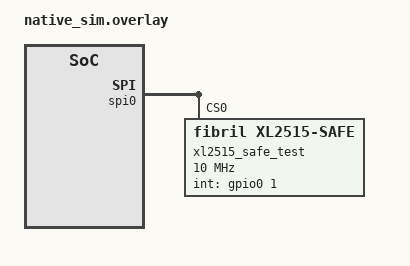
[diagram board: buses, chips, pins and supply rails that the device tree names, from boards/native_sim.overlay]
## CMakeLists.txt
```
# SPDX-License-Identifier: Apache-2.0

cmake_minimum_required(VERSION 3.20.0)
find_package(Zephyr REQUIRED HINTS $ENV{ZEPHYR_BASE})
project(xl2515_safe)

target_sources(app PRIVATE src/main.c src/emul_xl2515.c)
```

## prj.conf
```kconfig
CONFIG_ZTEST=y
CONFIG_CAN=y
CONFIG_SPI=y
CONFIG_SPI_EMUL=y
CONFIG_GPIO=y
CONFIG_GPIO_EMUL=y
CONFIG_EMUL=y
CONFIG_CAN_XL2515_SAFE_RECOVERY_DELAY_MS=10
CONFIG_CAN_XL2515_SAFE_IRQ_DRAIN_LIMIT=4
CONFIG_CAN_LOG_LEVEL_INF=y
```

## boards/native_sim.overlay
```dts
/* SPDX-License-Identifier: Apache-2.0 */

#include <zephyr/dt-bindings/gpio/gpio.h>

/ {
	aliases {
		can0 = &xl2515_safe_test;
	};
};

&gpio0 {
	ngpios = <2>;
};

&spi0 {
	status = "okay";

	xl2515_safe_test: can-controller@0 {
		compatible = "fibril,xl2515-safe";
		reg = <0>;
		spi-max-frequency = <10000000>;
		int-gpios = <&gpio0 1 GPIO_ACTIVE_HIGH>;
		osc-freq = <16000000>;
		bitrate = <125000>;
	};
};
```

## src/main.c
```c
/* SPDX-License-Identifier: Apache-2.0 */

#include <zephyr/drivers/can.h>
#include <zephyr/drivers/emul.h>
#include <zephyr/drivers/gpio/gpio_emul.h>
#include <zephyr/drivers/spi_emul.h>
#include <zephyr/kernel.h>
#include <zephyr/ztest.h>

#define CAN_NODE DT_ALIAS(can0)

static int failing_spi_io(const struct emul *target,
                          const struct spi_config *config,
                          const struct spi_buf_set *tx_bufs,
                          const struct spi_buf_set *rx_bufs) {
  ARG_UNUSED(target);
  ARG_UNUSED(config);
  ARG_UNUSED(tx_bufs);
  ARG_UNUSED(rx_bufs);
  return -EIO;
}

ZTEST(xl2515_safe, test_spi_fault_does_not_starve_and_recovers) {
  const struct device *can_dev = DEVICE_DT_GET(CAN_NODE);
  const struct gpio_dt_spec int_gpio = GPIO_DT_SPEC_GET(CAN_NODE, int_gpios);
  const struct emul *emul = EMUL_DT_GET(CAN_NODE);
  struct spi_emul_api failing_api = {.io = failing_spi_io};
  struct can_bus_err_cnt err_cnt;
  const struct can_frame frame = {.id = 0x123, .dlc = 0};
  enum can_state state = CAN_STATE_STOPPED;
  int64_t start_ms;
  int ret;

  zassert_true(device_is_ready(can_dev));
  zassert_ok(can_start(can_dev));

  emul->bus.spi->mock_api = &failing_api;
  zassert_ok(gpio_emul_input_set_dt(&int_gpio, 1));

  start_ms = k_uptime_get();
  k_sleep(K_MSEC(30));
  zassert_true(k_uptime_get() - start_ms >= 20,
               "CAN worker starved the test thread");

  zassert_ok(can_get_state(can_dev, &state, &err_cnt));
  zassert_equal(state, CAN_STATE_STOPPED, "fault was not isolated");
  zassert_equal(can_send(can_dev, &frame, K_NO_WAIT, NULL, NULL), -EIO,
                "synchronous send did not fail promptly");

  zassert_ok(gpio_emul_input_set_dt(&int_gpio, 0));
  emul->bus.spi->mock_api = NULL;

  for (int i = 0; i < 50; i++) {
    ret = can_get_state(can_dev, &state, &err_cnt);
    if (ret == 0 && state == CAN_STATE_ERROR_ACTIVE) {
      break;
    }
    k_sleep(K_MSEC(10));
  }

  zassert_equal(state, CAN_STATE_ERROR_ACTIVE, "CAN did not recover");
  zassert_ok(can_stop(can_dev));
}

ZTEST_SUITE(xl2515_safe, NULL, NULL, NULL, NULL, NULL);
```

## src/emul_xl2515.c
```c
/* SPDX-License-Identifier: Apache-2.0 */

#define DT_DRV_COMPAT fibril_xl2515_safe

#include <string.h>
#include <zephyr/drivers/emul.h>
#include <zephyr/drivers/spi_emul.h>

#define XL2515_OPCODE_WRITE 0x02
#define XL2515_OPCODE_READ 0x03
#define XL2515_OPCODE_BIT_MODIFY 0x05
#define XL2515_OPCODE_LOAD_TX_BUFFER 0x40
#define XL2515_OPCODE_RTS 0x80
#define XL2515_OPCODE_RESET 0xC0
#define XL2515_ADDR_CANSTAT 0x0E
#define XL2515_ADDR_CANCTRL 0x0F
#define XL2515_MODE_MASK 0xE0

struct xl2515_emul_data {
  uint8_t reg[128];
};

static void xl2515_emul_reset(struct xl2515_emul_data *data) {
  memset(data->reg, 0, sizeof(data->reg));
  data->reg[XL2515_ADDR_CANSTAT] = XL2515_MODE_MASK;
  data->reg[XL2515_ADDR_CANCTRL] = XL2515_MODE_MASK;
}

static int xl2515_emul_io(const struct emul *target,
                          const struct spi_config *config,
                          const struct spi_buf_set *tx_bufs,
                          const struct spi_buf_set *rx_bufs) {
  struct xl2515_emul_data *data = target->data;
  const struct spi_buf *command;
  const uint8_t *cmd;

  ARG_UNUSED(config);

  if (tx_bufs == NULL || tx_bufs->count == 0U ||
      tx_bufs->buffers[0].buf == NULL || tx_bufs->buffers[0].len == 0U) {
    return -EIO;
  }

  command = &tx_bufs->buffers[0];
  cmd = command->buf;

  switch (cmd[0]) {
  case XL2515_OPCODE_RESET:
    if (command->len != 1U) {
      return -EIO;
    }
    xl2515_emul_reset(data);
    return 0;
  case XL2515_OPCODE_BIT_MODIFY:
    if (command->len != 4U) {
      return -EIO;
    }
    data->reg[cmd[1]] = (data->reg[cmd[1]] & ~cmd[2]) | (cmd[3] & cmd[2]);
    if (cmd[1] == XL2515_ADDR_CANCTRL) {
      data->reg[XL2515_ADDR_CANSTAT] =
          (data->reg[XL2515_ADDR_CANSTAT] & ~XL2515_MODE_MASK) |
          (data->reg[XL2515_ADDR_CANCTRL] & XL2515_MODE_MASK);
    }
    return 0;
  case XL2515_OPCODE_WRITE:
    if (command->len != 2U || tx_bufs->count != 2U ||
        tx_bufs->buffers[1].buf == NULL ||
        cmd[1] + tx_bufs->buffers[1].len > sizeof(data->reg)) {
      return -EIO;
    }
    memcpy(&data->reg[cmd[1]], tx_bufs->buffers[1].buf,
           tx_bufs->buffers[1].len);
    return 0;
  case XL2515_OPCODE_READ:
    if (command->len != 2U || rx_bufs == NULL || rx_bufs->count != 2U ||
        rx_bufs->buffers[1].buf == NULL ||
        cmd[1] + rx_bufs->buffers[1].len > sizeof(data->reg)) {
      return -EIO;
    }
    memcpy(rx_bufs->buffers[1].buf, &data->reg[cmd[1]],
           rx_bufs->buffers[1].len);
    return 0;
  default:
    if ((cmd[0] & 0xF8U) == XL2515_OPCODE_LOAD_TX_BUFFER ||
        (cmd[0] & 0xF8U) == XL2515_OPCODE_RTS) {
      return 0;
    }
    return -EIO;
  }
}

static int xl2515_emul_init(const struct emul *target,
                            const struct device *parent) {
  ARG_UNUSED(parent);
  xl2515_emul_reset(target->data);
  return 0;
}

static struct spi_emul_api xl2515_emul_api = {
    .io = xl2515_emul_io,
};

#define XL2515_EMUL_DEFINE(inst)                                               \
  static struct xl2515_emul_data xl2515_emul_data_##inst;                      \
  EMUL_DT_INST_DEFINE(inst, xl2515_emul_init, &xl2515_emul_data_##inst, NULL,  \
                      &xl2515_emul_api, NULL)

DT_INST_FOREACH_STATUS_OKAY(XL2515_EMUL_DEFINE)
```
